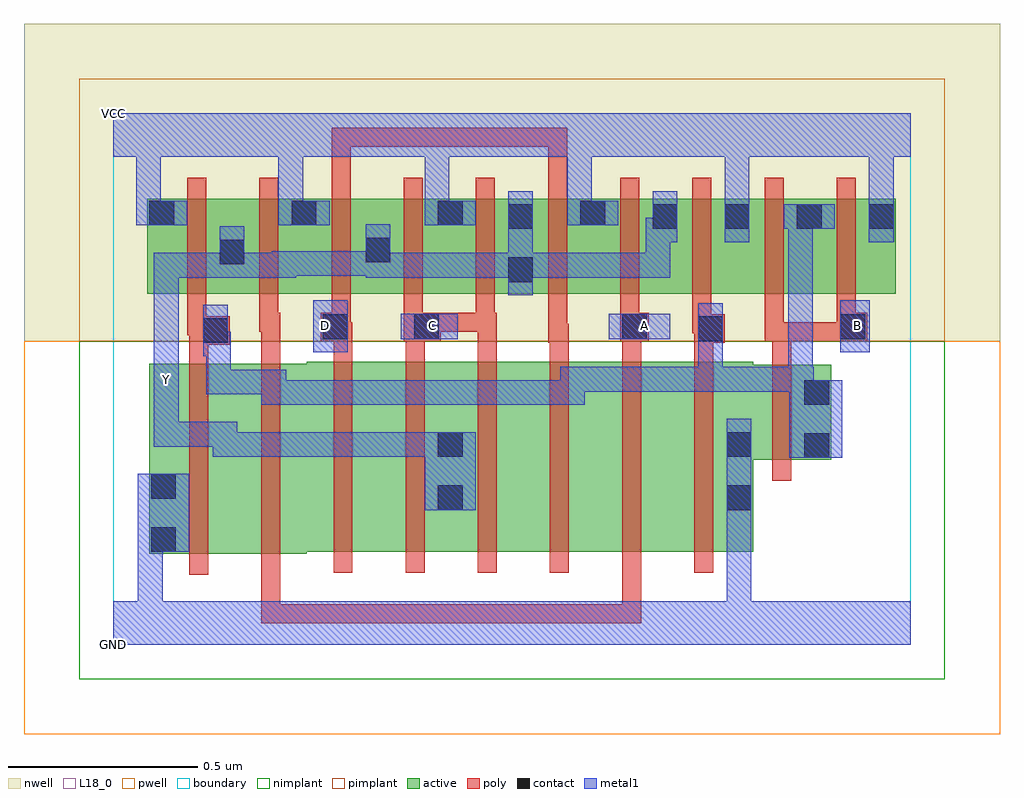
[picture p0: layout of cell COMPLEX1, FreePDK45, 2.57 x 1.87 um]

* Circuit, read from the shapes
.subckt COMPLEX1 A B C D GND VCC Y
M1 n1 n2 GND VSUBS nfet w=0.5u l=0.05u
M2 n3 A n1 VSUBS nfet w=0.5u l=0.05u
M3 n4 D n3 VSUBS nfet w=0.5u l=0.05u
M4 Y C n4 VSUBS nfet w=0.5u l=0.05u
M5 n5 C Y VSUBS nfet w=0.5u l=0.05u
M6 n6 D n5 VSUBS nfet w=0.5u l=0.05u
M7 n7 A n6 VSUBS nfet w=0.5u l=0.05u
M8 GND n2 n7 VSUBS nfet w=0.5u l=0.05u
M9 n2 B GND VSUBS nfet w=0.25u l=0.05u
M10 Y n2 VCC n8 pfet w=0.25u l=0.05u m=2
M11 VCC A Y n8 pfet w=0.25u l=0.05u m=2
M12 Y D VCC n8 pfet w=0.25u l=0.05u m=2
M13 VCC C Y n8 pfet w=0.25u l=0.05u m=2
M14 n2 B VCC n8 pfet w=0.25u l=0.05u m=2
.ends

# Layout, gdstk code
import gdstk
lib = gdstk.Library(unit=1e-6, precision=1e-09)
def R(c, l, rs):  # rectangles x0, y0, x1, y1
    for r in rs: c.add(gdstk.rectangle(r[:2], r[2:], *l))
def A(c, l, x, y, w, h, nx, ny, dx, dy):  # array of equal rectangles
    R(c, l, [(x+i*dx, y+j*dy, x+i*dx+w, y+j*dy+h) for i in range(nx) for j in range(ny)])
active = (1, 0)
pwell = (2, 0)
nwell = (3, 0)
nimplant = (4, 0)
pimplant = (5, 0)
poly = (9, 0)
contact = (10, 0)
metal1 = (11, 0)
L18_0 = (18, 0)
boundary = (235, 0)

complex1 = lib.new_cell('COMPLEX1')
A(complex1, active, 1.035, 0.925, 0.265, 0.25, 5, 1, 0.19, 0)
R(complex1, active, [(0.095,0.24,0.32,0.74), (0.095,0.24,0.17,0.74), (0.32,0.24,0.51,0.74), (0.51,0.245,0.7,0.745), (0.7,0.245,0.925,0.745), (0.85,0.245,1.08,0.745), (0.85,0.245,0.925,0.717), (1.08,0.245,1.27,0.745), (1.27,0.245,1.46,0.745), (1.46,0.245,1.685,0.745), (1.61,0.245,1.685,0.737), (1.61,0.487,1.89,0.737), (1.815,0.487,1.89,0.737), (0.09,0.925,0.165,1.175), (0.09,0.925,0.35,1.175), (0.275,0.925,0.54,1.175), (0.465,0.925,0.735,1.175), (0.66,0.925,0.925,1.175), (0.66,0.925,0.735,1.142), (0.85,0.925,1.11,1.175), (1.035,0.925,1.11,1.175), (1.415,0.925,1.49,1.165), (1.605,0.925,1.68,1.165), (1.795,0.925,1.87,1.175), (1.985,0.925,2.06,1.175), (0.85,0.932,0.925,1.175), (0.275,0.997,0.35,1.105), (0.465,1.027,0.54,1.175), (1.225,1.057,1.3,1.175)])
R(complex1, pwell, [(-0.235,-0.235,2.335,0.8)])
R(complex1, nwell, [(-0.235,0.8,2.335,1.635)])
R(complex1, nimplant, [(-0.09,-0.09,2.19,0.8)])
R(complex1, pimplant, [(-0.09,0.8,2.19,1.49)])
A(complex1, poly, 0.58, 0.19, 0.05, 0.61, 6, 1, 0.19, 0)
A(complex1, poly, 0.385, 0.825, 0.05, 0.095, 4, 1, 0.19, 0)
A(complex1, poly, 0.195, 0.87, 0.05, 0.36, 10, 1, 0.19, 0)
R(complex1, poly, [(0.39,0.057,0.44,0.107), (0.39,0.057,0.44,0.107), (0.39,0.057,0.44,0.107), (0.39,0.057,0.682,0.107), (0.39,0.057,0.44,0.235), (0.632,0.057,0.682,0.107), (0.632,0.057,0.682,0.107), (0.632,0.057,0.682,0.107), (0.632,0.057,0.872,0.107), (0.822,0.057,0.872,0.107), (0.822,0.057,0.872,0.107), (0.822,0.057,0.872,0.107), (0.822,0.057,1.005,0.107), (0.955,0.057,1.005,0.107), (0.955,0.057,1.005,0.107), (0.955,0.057,1.005,0.107), (0.955,0.057,1.157,0.107), (1.107,0.057,1.157,0.107), (1.107,0.057,1.157,0.107), (1.107,0.057,1.157,0.107), (1.107,0.057,1.39,0.107), (1.34,0.057,1.39,0.107), (1.34,0.057,1.39,0.24), (0.2,0.185,0.25,0.795), (0.39,0.185,0.44,0.795), (1.735,0.432,1.785,0.792), (1.735,0.742,1.785,0.85), (0.2,0.745,0.25,0.84), (0.39,0.745,0.44,0.875), (0.58,0.75,0.63,0.85), (0.77,0.75,0.82,0.85), (0.96,0.75,1.01,0.875), (1.15,0.75,1.2,0.845), (1.34,0.75,1.39,0.85), (1.53,0.75,1.58,0.845), (0.2,0.79,0.307,0.865), (1.145,0.795,1.2,0.845), (1.145,0.795,1.195,0.92), (1.15,0.795,1.2,0.845), (1.15,0.795,1.2,0.845), (1.53,0.795,1.61,0.87), (0.547,0.8,0.625,0.875), (0.575,0.8,0.625,0.85), (0.575,0.8,0.63,0.85), (0.765,0.8,0.862,0.875), (0.77,0.8,0.82,0.85), (0.77,0.8,0.82,0.85), (1.335,0.8,1.41,0.875), (1.34,0.8,1.39,0.85), (1.34,0.8,1.39,0.85), (1.715,0.8,1.765,0.92), (1.715,0.8,1.785,0.85), (1.735,0.8,1.785,0.85), (1.735,0.8,1.785,0.85), (1.735,0.8,1.955,0.85), (1.905,0.8,1.955,0.85), (1.905,0.8,1.955,0.85), (1.905,0.8,1.985,0.875), (0.195,0.815,0.25,0.865), (0.195,0.815,0.245,0.92), (0.2,0.815,0.25,0.865), (1.525,0.82,1.575,0.92), (1.525,0.82,1.58,0.87), (1.53,0.82,1.58,0.87), (0.385,0.825,0.44,0.875), (0.39,0.825,0.44,0.875), (0.39,0.825,0.44,0.875), (0.812,0.825,0.862,0.875), (0.812,0.825,0.862,0.875), (0.812,0.825,1.005,0.875), (0.955,0.825,1.01,0.875), (0.96,0.825,1.01,0.875), (0.96,0.825,1.01,0.875), (1.335,0.825,1.385,0.92), (1.905,0.825,1.955,0.92), (0.575,1.18,0.625,1.362), (1.145,1.18,1.195,1.362), (0.575,1.312,0.625,1.362), (0.575,1.312,0.625,1.362), (0.575,1.312,0.625,1.362), (0.575,1.312,0.872,1.362), (0.822,1.312,0.872,1.362), (0.822,1.312,0.872,1.362), (0.822,1.312,0.872,1.362), (0.822,1.312,1.025,1.362), (0.975,1.312,1.025,1.362), (0.975,1.312,1.025,1.362), (0.975,1.312,1.025,1.362), (0.975,1.312,1.195,1.362), (1.145,1.312,1.195,1.362)])
A(complex1, contact, 1.42, 1.095, 0.065, 0.065, 4, 1, 0.19, 0)
R(complex1, contact, [(0.1,0.245,0.165,0.31), (0.855,0.355,0.92,0.42), (1.615,0.355,1.68,0.42), (0.1,0.385,0.165,0.45), (1.82,0.492,1.885,0.557), (0.855,0.495,0.92,0.56), (1.615,0.495,1.68,0.56), (1.82,0.632,1.885,0.697), (0.237,0.795,0.302,0.86), (1.54,0.8,1.605,0.865), (0.552,0.805,0.617,0.87), (0.792,0.805,0.857,0.87), (1.34,0.805,1.405,0.87), (1.915,0.805,1.98,0.87), (1.04,0.955,1.105,1.02), (0.28,1.002,0.345,1.067), (0.665,1.007,0.73,1.072), (1.04,1.095,1.105,1.16), (0.095,1.105,0.16,1.17), (0.47,1.105,0.535,1.17), (0.855,1.105,0.92,1.17), (1.23,1.105,1.295,1.17)])
R(complex1, metal1, [(0,0,2.1,0.115), (0.065,0.05,0.13,0.31), (1.615,0.05,1.68,0.115), (1.615,0.05,1.68,0.115), (1.615,0.05,1.68,0.385), (0.065,0.245,0.13,0.31), (0.065,0.245,0.13,0.31), (0.065,0.245,0.2,0.45), (1.615,0.32,1.68,0.595), (0.82,0.355,0.955,0.56), (1.78,0.492,1.92,0.697), (0.262,0.495,0.44,0.56), (0.262,0.495,0.327,0.587), (0.375,0.495,0.44,0.56), (0.375,0.495,0.592,0.56), (0.527,0.495,0.592,0.56), (0.527,0.495,0.592,0.56), (0.527,0.495,0.592,0.56), (0.527,0.495,0.73,0.56), (0.665,0.495,0.73,0.56), (0.665,0.495,0.73,0.56), (0.665,0.495,0.73,0.56), (0.665,0.495,0.885,0.56), (0.107,0.522,0.172,0.587), (0.107,0.522,0.172,0.587), (0.107,0.522,0.172,0.587), (0.107,0.522,0.327,0.587), (0.107,0.522,0.172,0.697), (0.107,0.632,0.172,0.767), (0.39,0.632,0.592,0.697), (0.39,0.632,0.455,0.725), (0.527,0.632,0.592,0.697), (0.527,0.632,0.592,0.697), (0.527,0.632,0.592,0.697), (0.527,0.632,0.73,0.697), (0.665,0.632,0.73,0.697), (0.665,0.632,0.907,0.697), (0.842,0.632,0.907,0.697), (0.842,0.632,0.907,0.697), (0.842,0.632,0.907,0.697), (0.842,0.632,1.045,0.697), (0.98,0.632,1.045,0.697), (0.98,0.632,1.045,0.697), (0.98,0.632,1.045,0.697), (0.98,0.632,1.182,0.697), (1.117,0.632,1.182,0.697), (1.117,0.632,1.242,0.697), (1.177,0.632,1.242,0.732), (1.78,0.632,1.845,0.732), (0.245,0.66,0.455,0.725), (0.245,0.66,0.31,0.825), (1.177,0.667,1.38,0.732), (1.315,0.667,1.38,0.732), (1.315,0.667,1.38,0.732), (1.315,0.667,1.38,0.732), (1.315,0.667,1.605,0.732), (1.54,0.667,1.605,0.732), (1.54,0.667,1.605,0.732), (1.54,0.667,1.842,0.732), (1.54,0.667,1.605,0.9), (1.777,0.667,1.842,0.732), (1.777,0.667,1.842,0.732), (1.777,0.667,1.842,1.16), (1.777,0.667,1.845,0.732), (0.107,0.702,0.172,1.032), (0.237,0.76,0.302,0.895), (0.237,0.76,0.31,0.825), (0.527,0.77,0.617,0.907), (1.915,0.77,1.992,0.907), (0.757,0.805,0.907,0.872), (1.305,0.805,1.467,0.872), (1.04,0.92,1.105,1.195), (0.107,0.967,0.172,1.032), (0.107,0.967,0.172,1.032), (0.107,0.967,0.172,1.032), (0.107,0.967,0.345,1.032), (0.28,0.967,0.345,1.032), (0.28,0.967,0.345,1.032), (0.28,0.967,0.345,1.102), (0.28,0.967,0.44,1.032), (0.375,0.967,0.44,1.032), (0.375,0.967,0.482,1.032), (0.417,0.967,0.482,1.037), (0.665,0.967,0.867,1.032), (0.665,0.967,0.73,1.037), (0.802,0.967,0.867,1.032), (0.802,0.967,1.045,1.032), (0.98,0.967,1.045,1.032), (0.98,0.967,1.105,1.032), (1.04,0.967,1.182,1.032), (1.117,0.967,1.182,1.032), (1.117,0.967,1.242,1.032), (1.177,0.967,1.242,1.032), (1.177,0.967,1.467,1.032), (1.402,0.967,1.467,1.125), (0.417,0.972,0.592,1.037), (0.527,0.972,0.592,1.037), (0.527,0.972,0.73,1.037), (0.665,0.972,0.73,1.037), (0.665,0.972,0.73,1.107), (1.402,1.06,1.485,1.125), (1.42,1.06,1.485,1.195), (1.61,1.06,1.675,1.195), (1.99,1.06,2.055,1.195), (1.765,1.095,1.9,1.16), (1.777,1.095,1.842,1.16), (1.777,1.095,1.842,1.16), (0.06,1.105,0.195,1.17), (0.06,1.105,0.125,1.35), (0.435,1.105,0.57,1.17), (0.435,1.105,0.5,1.35), (0.82,1.105,0.955,1.17), (0.82,1.105,0.885,1.35), (1.195,1.105,1.33,1.17), (1.195,1.105,1.26,1.35), (1.61,1.13,1.675,1.35), (1.99,1.13,2.055,1.35), (0,1.285,2.1,1.4), (0.06,1.285,0.125,1.35), (0.06,1.285,0.125,1.35), (0.435,1.285,0.5,1.35), (0.435,1.285,0.5,1.35), (0.82,1.285,0.885,1.35), (0.82,1.285,0.885,1.35), (1.195,1.285,1.26,1.35), (1.195,1.285,1.26,1.35), (1.61,1.285,1.675,1.35), (1.61,1.285,1.675,1.35), (1.99,1.285,2.055,1.35), (1.99,1.285,2.055,1.35)])
A(complex1, L18_0, 0.807, 0.807, 0.065, 0.065, 3, 1, 0.56, 0)
R(complex1, L18_0, [(0,0,2.1,0.115), (0.065,0.05,0.13,0.31), (1.615,0.05,1.68,0.115), (1.615,0.05,1.68,0.115), (1.615,0.05,1.68,0.385), (0.065,0.245,0.13,0.31), (0.065,0.245,0.13,0.31), (0.065,0.245,0.2,0.45), (1.615,0.32,1.68,0.595), (0.82,0.355,0.955,0.56), (0.262,0.495,0.327,0.587), (0.262,0.495,0.44,0.56), (0.375,0.495,0.44,0.56), (0.375,0.495,0.592,0.56), (0.527,0.495,0.592,0.56), (0.527,0.495,0.592,0.56), (0.527,0.495,0.592,0.56), (0.527,0.495,0.73,0.56), (0.665,0.495,0.73,0.56), (0.665,0.495,0.73,0.56), (0.665,0.495,0.73,0.56), (0.665,0.495,0.885,0.56), (0.107,0.522,0.172,0.587), (0.107,0.522,0.172,0.587), (0.107,0.522,0.172,0.587), (0.107,0.522,0.172,0.697), (0.107,0.522,0.327,0.587), (0.107,0.632,0.172,0.767), (0.107,0.667,0.172,0.732), (0.107,0.702,0.172,1.032), (0.527,0.77,0.617,0.907), (1.915,0.77,1.992,0.907), (0.757,0.805,0.907,0.872), (1.305,0.805,1.467,0.872), (0.527,0.807,0.592,0.872), (1.04,0.92,1.105,1.195), (0.107,0.967,0.172,1.032), (0.107,0.967,0.172,1.032), (0.107,0.967,0.172,1.032), (0.107,0.967,0.345,1.032), (0.28,0.967,0.345,1.032), (0.28,0.967,0.345,1.032), (0.28,0.967,0.345,1.102), (0.28,0.967,0.44,1.032), (0.375,0.967,0.44,1.032), (0.375,0.967,0.482,1.032), (0.417,0.967,0.482,1.037), (0.665,0.967,0.73,1.037), (0.665,0.967,0.867,1.032), (0.802,0.967,0.867,1.032), (0.802,0.967,1.045,1.032), (0.98,0.967,1.045,1.032), (0.98,0.967,1.105,1.032), (1.04,0.967,1.182,1.032), (1.117,0.967,1.182,1.032), (1.117,0.967,1.242,1.032), (1.177,0.967,1.242,1.032), (1.177,0.967,1.467,1.032), (1.402,0.967,1.467,1.125), (0.417,0.972,0.592,1.037), (0.527,0.972,0.592,1.037), (0.527,0.972,0.73,1.037), (0.665,0.972,0.73,1.037), (0.665,0.972,0.73,1.107), (1.402,1.06,1.485,1.125), (1.42,1.06,1.485,1.195), (1.61,1.06,1.675,1.195), (1.99,1.06,2.055,1.195), (0.06,1.105,0.195,1.17), (0.06,1.105,0.125,1.35), (0.435,1.105,0.57,1.17), (0.435,1.105,0.5,1.35), (0.82,1.105,0.955,1.17), (0.82,1.105,0.885,1.35), (1.195,1.105,1.33,1.17), (1.195,1.105,1.26,1.35), (1.61,1.13,1.675,1.35), (1.99,1.13,2.055,1.35), (0,1.285,2.1,1.4), (0.06,1.285,0.125,1.35), (0.06,1.285,0.125,1.35), (0.435,1.285,0.5,1.35), (0.435,1.285,0.5,1.35), (0.82,1.285,0.885,1.35), (0.82,1.285,0.885,1.35), (1.195,1.285,1.26,1.35), (1.195,1.285,1.26,1.35), (1.61,1.285,1.675,1.35), (1.61,1.285,1.675,1.35), (1.99,1.285,2.055,1.35), (1.99,1.285,2.055,1.35)])
R(complex1, boundary, [(0,0,2.1,1.4)])
complex1.add(gdstk.Label('A', (1.4,0.84), layer=11, texttype=0))
complex1.add(gdstk.Label('B', (1.96,0.84), layer=11, texttype=0))
complex1.add(gdstk.Label('C', (0.84,0.84), layer=11, texttype=0))
complex1.add(gdstk.Label('D', (0.56,0.84), layer=11, texttype=0))
complex1.add(gdstk.Label('Y', (0.14,0.7), layer=11, texttype=0))
complex1.add(gdstk.Label('VCC', (0,1.4), layer=11, texttype=0))
complex1.add(gdstk.Label('GND', (0,0), layer=11, texttype=0))

lib.write_gds('COMPLEX1.gds')
